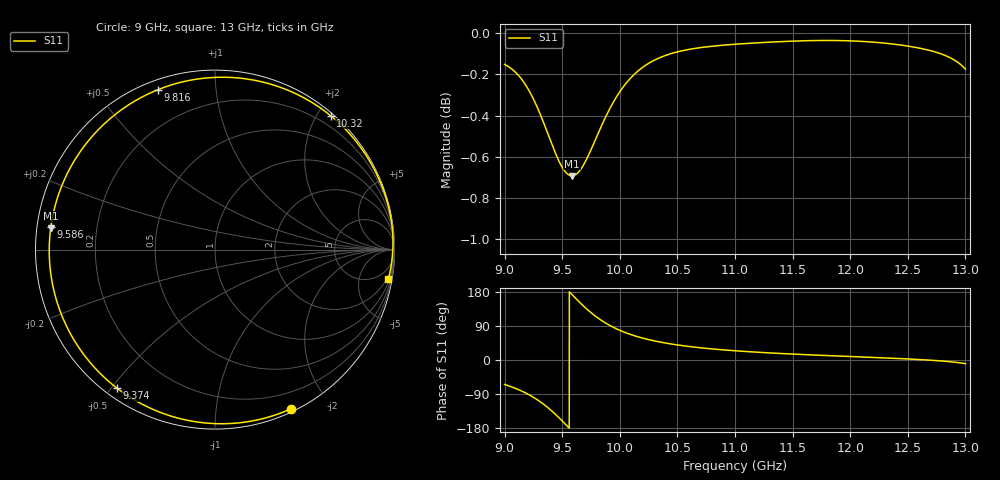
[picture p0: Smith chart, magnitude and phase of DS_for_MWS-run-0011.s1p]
! TOUCHSTONE file generated by CST DESIGN STUDIO
! Date and time: Tue Feb  4 15:43:14 2025
! Project name: C:\Work\MatlabApps\UnitCellOptimizationMatlab\CST\unitcell.cst
! Tree item: Tasks\Sweep1\SPara1\S-Parameters
! Header version: 2024
! Port assignment regex: !\s*Touchstone port\s*([0-9]+)\s*=\s*(CST MWS port|CST DES external port|CST DES block port)\s*(.+)\s* \(\"(.*)\"\)(\s*mode\s*([0-9]+))?.*
! Touchstone port assignment:
! Touchstone port 1 = CST DES external port 1 ("")
# GHz S MA R 50
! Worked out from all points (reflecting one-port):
!   4001 points, 9 GHz to 13 GHz, reference 50 ohm
!   lowest |S11| = -0.7 dB at 9.585 GHz (marker M1), VSWR 25.06, Z = 2 + j3.24 ohm
!   phase of S11 starts at -65 deg and turns -305 deg over the sweep
!   S11 on the Smith chart (normalised r, x): 9 GHz: 0.03, -1.58; 9.374 GHz: 0.04, -0.52; 9.586 GHz: 0.04, +0.07; 9.816 GHz: 0.04, +0.70; 10.32 GHz: 0.04, +2.18; 13 GHz: 1, -12
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9  0.9827 -64.7
9.044  0.9811 -69.1
9.11  0.9774 -76.8
9.225  0.9669 -93.9
9.304  0.9565 -109.1
9.374  0.9455 -125.3
9.435  0.936 -141.6
9.5  0.9277 -160.8
9.543  0.9244 -174.2
9.585  0.9233 172.6
9.586  0.9233 172.3
9.641  0.9251 155.3
9.705  0.9311 136.8
9.759  0.9381 122.7
9.816  0.946 109.6
9.898  0.9569 93.7
10  0.9678 78.3
10.071  0.9736 69.8
10.146  0.9784 62.2
10.319  0.9856 49.2
10.5  0.9896 39.7
10.72  0.9922 31.6
11  0.9939 24.4
11.5  0.9956 15.6
12  0.9957 9.2
12.5  0.9928 2.8
12.794  0.9884 -2.6
13  0.9801 -9.6
